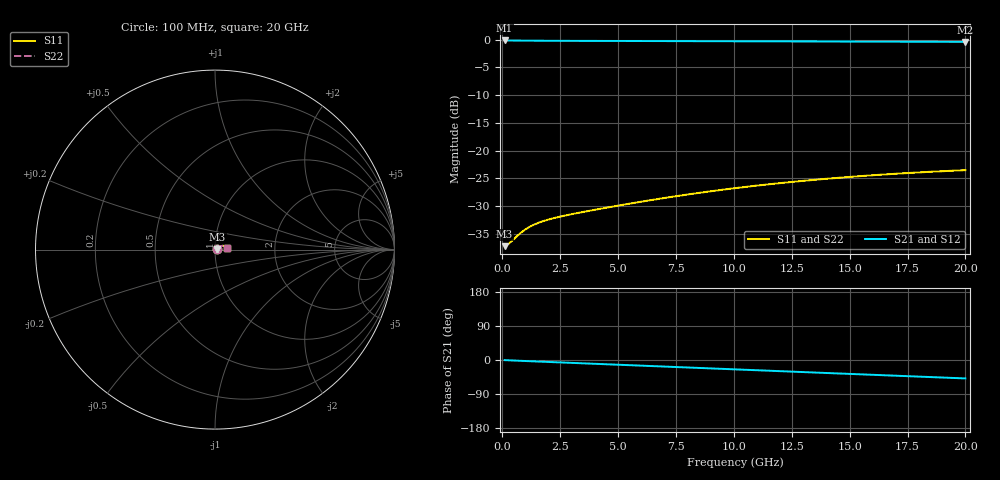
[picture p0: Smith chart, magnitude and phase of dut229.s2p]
! Touchstone file exported from HFSS 2026.1.0
!  File:  C:/ffzhzh/LocalFiles/Ansys_Project_Files/temp_train_BSMRDL_229_1782988208_40604.aedt
!  Generated:  06:31:35 PM Jul  2, 2026
!  Design:  BSMRDL
!  Project:  temp_train_BSMRDL_229_1782988208_40604
! Variables:
!  h_bsmrdl = 2.15um
!  h_ox = 20um
!  h_rdl = 5um
!  h_sub = 80um
!  h_tmrdl = 5um
!  h_tsv = 80um
!  h_via = 3um
!  l_bsmrdl = 884.92um
!  l_sub = 1284.92um
!  l_tmrdl = 200um
!  m_sub = 200um
!  pitch = 13um
!  r_tsv = 6um
!  s_tmrdl = 10um
!  w_bsmrdl = 10.57um
!  w_sub = 500um
!  w_tmrdl = 12um
!  x_tsv_center1 = 206um
!  x_tsv_center2 = 1101.49um
!  x_tsv_center3 = 1313.49um
!  x_tsv_center4 = 2208.98um
!  x_tsv_center5 = 2420.98um
!  x_tsv_center6 = 3316.47um
# GHz S MA R 50.000000
! Terminal data exported
! Port[1] = BSM_RDL1_1_T1
! Port[2] = BSM_RDL1_1_T2
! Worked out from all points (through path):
!   200 points, 100 MHz to 20 GHz, reference 50 ohm
!   highest |S21| = -0.12 dB at 100 MHz (marker M1); lowest = -0.4 dB at 20 GHz (marker M2)
!   group delay of S21, straight-line fit = 6.72 ps
!   lowest |S11| = -37.3 dB at 100 MHz (marker M3), VSWR 1.03, Z = 51.4 + j0.113 ohm
!   |S11| at or under -10 dB: start of sweep to end of sweep
!   |S22| runs from -37.3 to -23.5 dB; largest |S21 - S12| = 2.6e-15
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0.1  0.01368 4.6  0.9864 -0.3  0.9864 -0.3  0.01368 4.6
! Gamma 0 0 0 0
! Port Impedance 50 0 50 0
0.2  0.014 8.9  0.9862 -0.6  0.9862 -0.6  0.014 8.9
0.3  0.01451 12.6  0.9859 -0.9  0.9859 -0.9  0.01451 12.6
0.7  0.01733 21.3  0.984 -2.0  0.984 -2.0  0.01733 21.3
0.9  0.01874 22.9  0.983 -2.5  0.983 -2.5  0.01874 23.0
1.1  0.01999 23.7  0.9821 -3.0  0.9821 -3.0  0.01999 23.8
1.4  0.02154 24.3  0.9809 -3.7  0.9809 -3.7  0.02155 24.3
1.6  0.0224 24.5  0.9803 -4.2  0.9803 -4.2  0.02241 24.5
1.8  0.02315 24.7  0.9798 -4.7  0.9798 -4.7  0.02317 24.7
2.2  0.02444 25.1  0.9789 -5.7  0.9789 -5.7  0.02447 25.1
2.7  0.02584 25.7  0.9781 -6.9  0.9781 -6.9  0.02586 25.7
3.5  0.02789 26.9  0.9772 -8.8  0.9772 -8.8  0.02792 26.9
5.2  0.03231 29.0  0.9755 -13.0  0.9755 -13.0  0.03235 28.9
6.8  0.03671 29.6  0.974 -16.9  0.974 -16.9  0.03677 29.5
8.5  0.04146 28.9  0.9722 -21.0  0.9722 -21.0  0.04155 28.8
10.1  0.04584 27.3  0.9703 -24.9  0.9703 -24.9  0.04597 27.1
11.7  0.05002 25.1  0.9684 -28.8  0.9684 -28.8  0.0502 24.8
13.4  0.05417 22.2  0.9662 -32.9  0.9662 -32.9  0.0544 21.9
15  0.05774 19.2  0.9641 -36.7  0.9641 -36.7  0.05802 18.8
16.7  0.06114 15.7  0.9618 -40.8  0.9618 -40.8  0.06147 15.3
18.3  0.06394 12.3  0.9597 -44.6  0.9597 -44.6  0.06433 11.8
20  0.06647 8.5  0.9575 -48.6  0.9575 -48.6  0.06692 8.0
